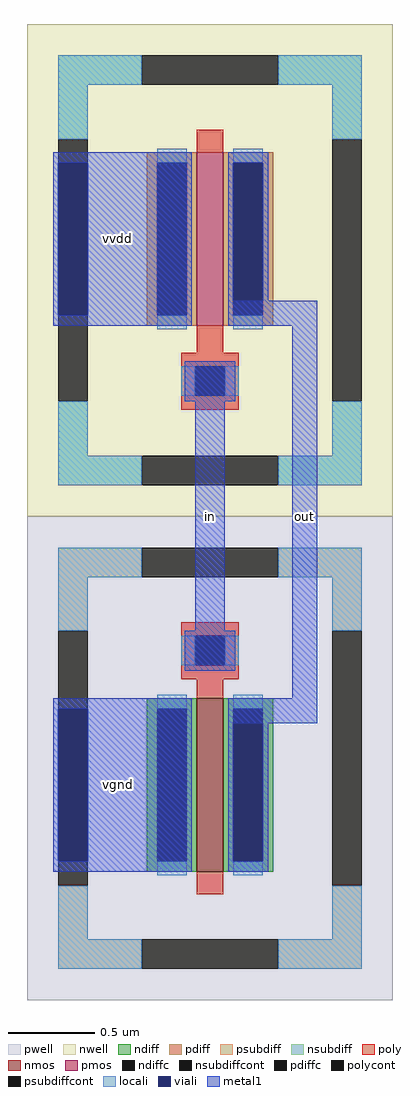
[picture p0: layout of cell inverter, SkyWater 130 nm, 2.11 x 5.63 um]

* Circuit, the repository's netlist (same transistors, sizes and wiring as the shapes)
** sch_path: /home/alex/mbkmpolytron/inverter/inverter.sch
.subckt inverter vvdd in out vgnd
*.PININFO vvdd:I in:I vgnd:I out:O
XM1 out in vgnd vgnd sky130_fd_pr__nfet_01v8 L=0.15 W=1 nf=1 m=1
XM2 out in vvdd vvdd sky130_fd_pr__pfet_01v8 L=0.15 W=1 nf=1 m=1
.ends
.end

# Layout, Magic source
magic
tech sky130A
magscale 1 2
<< viali >>
rect -17 737 17 913
rect -17 107 17 283
<< metal1 >>
rect -23 913 137 925
rect -23 737 -17 913
rect 17 737 137 913
rect -23 725 137 737
rect 179 725 282 754
rect 141 333 175 678
rect 253 295 282 725
rect -23 283 137 295
rect -23 107 -17 283
rect 17 107 137 283
rect 179 266 282 295
rect -23 95 137 107
use sky130_fd_pr__nfet_01v8_64Z3AY  XM1
transform 1 0 158 0 1 226
box -211 -279 211 279
use sky130_fd_pr__pfet_01v8_LGS3BL  XM2
transform 1 0 158 0 1 789
box -211 -284 211 284
<< labels >>
flabel metal1 18 727 84 924 0 FreeSans 160 0 0 0 vvdd
port 0 nsew
flabel metal1 19 97 85 294 0 FreeSans 160 0 0 0 vgnd
port 1 nsew
flabel metal1 141 469 175 541 0 FreeSans 160 0 0 0 in
port 2 nsew
flabel metal1 253 469 282 541 0 FreeSans 160 0 0 0 out
port 3 nsew
<< end >>

# cell sky130_fd_pr__nfet_01v8_64Z3AY: kit device sky130_fd_pr__nfet_01v8, w 1.0 l 0.15 m 1 nf 1 diffcov 100 polycov 100 guard 1 glc 1 grc 1 gtc 1 gbc 1 tbcov 100 rlcov 100 topc 1 botc 0 poverlap 0 doverlap 1 lmin 0.15 wmin 0.42 compatible {sky130_fd_pr__nfet_01v8 sky130_fd_pr__nfet_01v8_lvt sky130_fd_bs_flash__special_sonosfet_star sky130_fd_pr__nfet_g5v0d10v5 sky130_fd_pr__nfet_05v0_nvt sky130_fd_pr__nfet_03v3_nvt} full_metal 1 viasrc 100 viadrn 100 viagate 100 viagb 0 viagr 0 viagl 0 viagt 0

# cell sky130_fd_pr__pfet_01v8_LGS3BL: kit device sky130_fd_pr__pfet_01v8, w 1.0 l 0.15 m 1 nf 1 diffcov 100 polycov 100 guard 1 glc 1 grc 1 gtc 1 gbc 1 tbcov 100 rlcov 100 topc 0 botc 1 poverlap 0 doverlap 1 lmin 0.15 wmin 0.42 compatible {sky130_fd_pr__pfet_01v8 sky130_fd_pr__pfet_01v8_lvt sky130_fd_pr__pfet_01v8_hvt sky130_fd_pr__pfet_g5v0d10v5} full_metal 1 viasrc 100 viadrn 100 viagate 100 viagb 0 viagr 0 viagl 0 viagt 0
